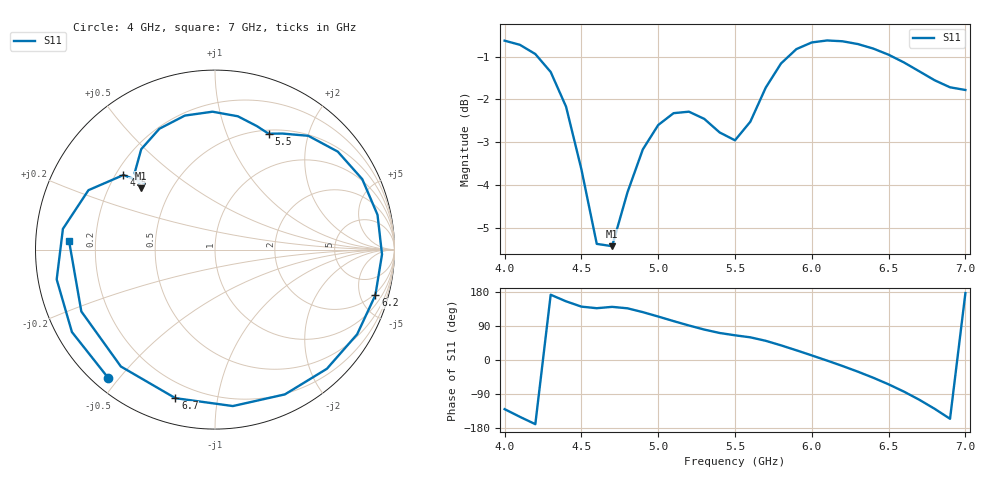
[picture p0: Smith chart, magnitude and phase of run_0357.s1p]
! Touchstone file exported from HFSS 2024.2.0
!  File:  C:/Users/wsak9/Desktop/Sim Fast/Widenad Patch/WP_AI_V1_sweep.aedt
!  Generated:  06:10:44 AM Oct 14, 2026
!  Design:  A1_model
!  Project:  WP_AI_V1_sweep
!  Setup:  Setup1
!  Solution:  Sweep
! Variables:
!  Air_gap = 2.27mm
!  Curve_Amp1 = 1.68
!  Curve_len1 = 1
!  Curve_pos = 11.76mm
!  Extra = 6.46mm
!  H_sub = 0.79mm
!  L_Patch = 19.52mm
!  L_Patch1 = 18.72mm
!  Sx = 4.88mm
!  Sy = 2.81mm
!  WS = 0.64mm
!  W_Patch = 18.16mm
!  W_Patch1 = 12.26mm
!Data is not renormalized
# GHz S MA
! Terminal data exported
! Port[1] = 1
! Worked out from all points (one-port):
!   31 points, 4 GHz to 7 GHz, reference per port
!   lowest |S11| = -5.4 dB at 4.7 GHz (marker M1), VSWR 3.30
!   |S11| at or under -10 dB: nowhere
!   S11 on the Smith chart (normalised r, x): 4 GHz: 0.04, -0.47; 4.5 GHz: 0.23, +0.34; 5.5 GHz: 0.54, +1.42; 6.2 GHz: 1.81, -6.71; 6.7 GHz: 0.12, -0.76; 7 GHz: 0.10, +0.03
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4  0.9304 -129.7
4.1  0.92 -150.0
4.2  0.8975 -169.3
4.3  0.8552 172.2
4.4  0.7789 154.8
4.5  0.6579 140.8
4.6  0.5382 136.7
4.7  0.5349 140.2
4.8  0.6184 136.4
4.9  0.6943 126.3
5  0.7413 114.7
5.2  0.7684 91.0
5.4  0.7266 71.3
5.5  0.7114 65.2
5.6  0.748 59.8
5.7  0.8198 50.7
5.8  0.8752 38.6
5.9  0.9095 25.6
6.1  0.9309 -1.6
6.2  0.9289 -15.8
6.3  0.9219 -30.8
6.4  0.9108 -46.8
6.5  0.8958 -64.2
6.6  0.8774 -83.5
6.7  0.8566 -104.9
6.8  0.8362 -128.8
6.9  0.8205 -155.2
7  0.8146 176.6
